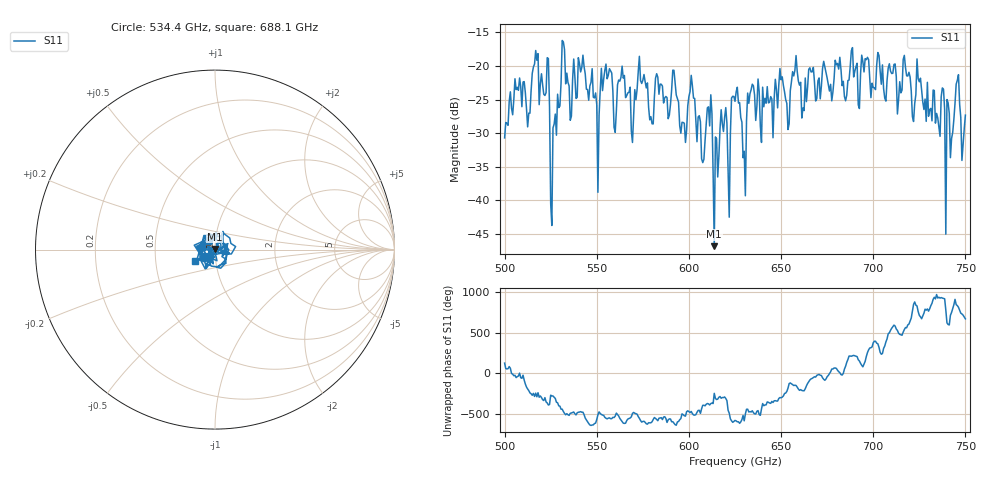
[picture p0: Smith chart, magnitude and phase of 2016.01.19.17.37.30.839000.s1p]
!Created with skrf (http://scikit-rf.org).
# GHz S RI R 50.0
!freq ReS11 ImS11
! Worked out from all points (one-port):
!   401 points, 500 GHz to 750 GHz, reference 50 ohm
!   lowest |S11| = -46.8 dB at 613.8 GHz (marker M1), VSWR 1.01, Z = 49.8 + j0.411 ohm
!   |S11| at or under -10 dB: start of sweep to end of sweep
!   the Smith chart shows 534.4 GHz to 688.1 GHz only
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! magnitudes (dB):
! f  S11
! 500 GHz  -30.7
! 506.9 GHz  -23.2
! 513.1 GHz  -27.0
! 516.9 GHz  -17.7
! 523.1 GHz  -18.8
! 526.2 GHz  -29.2
! 531.2 GHz  -16.2
! 550 GHz  -25.8
! 553.8 GHz  -21.9
! 560 GHz  -29.9
! 562.5 GHz  -22.3
! 570 GHz  -27.6
! 593.8 GHz  -24.8
! 601.9 GHz  -22.9
! 608.1 GHz  -33.9
! 611.2 GHz  -28.9
! 613.8 GHz  -46.8
! 618.8 GHz  -29.8
! 621.9 GHz  -42.5
! 625 GHz  -25.3
! 630 GHz  -32.7
! 633.1 GHz  -24.1
! 656.2 GHz  -20.8
! 687.5 GHz  -20.1
! 718.8 GHz  -21.5
! 740.6 GHz  -25.5
! 745.6 GHz  -22.1
! 750 GHz  -27.3
